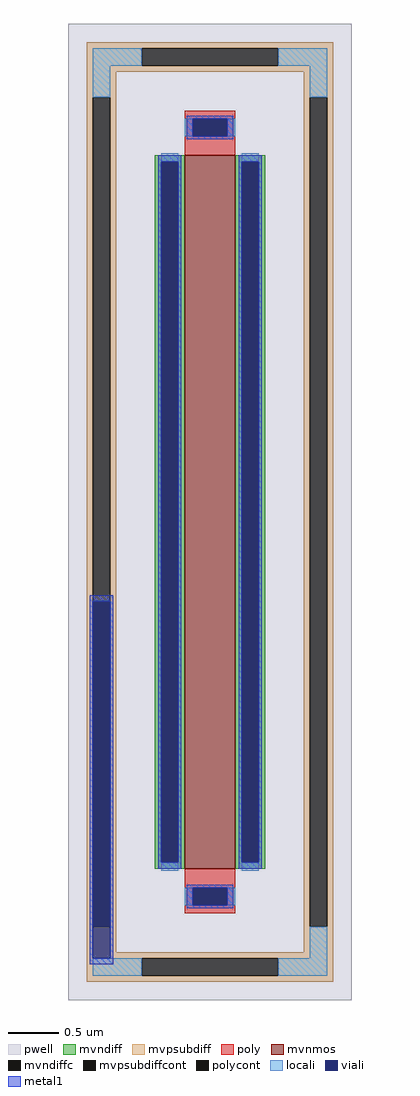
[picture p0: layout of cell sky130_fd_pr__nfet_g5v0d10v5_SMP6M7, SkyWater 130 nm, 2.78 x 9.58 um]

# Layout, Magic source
magic
tech sky130A
magscale 1 2
<< pwell >>
rect -278 -958 278 958
<< mvnmos >>
rect -50 -700 50 700
<< mvndiff >>
rect -108 688 -50 700
rect -108 -688 -96 688
rect -62 -688 -50 688
rect -108 -700 -50 -688
rect 50 688 108 700
rect 50 -688 62 688
rect 96 -688 108 688
rect 50 -700 108 -688
<< mvndiffc >>
rect -96 -688 -62 688
rect 62 -688 96 688
<< mvpsubdiff >>
rect -242 910 242 922
rect -242 876 -134 910
rect 134 876 242 910
rect -242 864 242 876
rect -242 814 -184 864
rect -242 -814 -230 814
rect -196 -814 -184 814
rect 184 814 242 864
rect -242 -864 -184 -814
rect 184 -814 196 814
rect 230 -814 242 814
rect 184 -864 242 -814
rect -242 -876 242 -864
rect -242 -910 -134 -876
rect 134 -910 242 -876
rect -242 -922 242 -910
<< mvpsubdiffcont >>
rect -134 876 134 910
rect -230 -814 -196 814
rect 196 -814 230 814
rect -134 -910 134 -876
<< poly >>
rect -50 772 50 788
rect -50 738 -34 772
rect 34 738 50 772
rect -50 700 50 738
rect -50 -738 50 -700
rect -50 -772 -34 -738
rect 34 -772 50 -738
rect -50 -788 50 -772
<< polycont >>
rect -34 738 34 772
rect -34 -772 34 -738
<< locali >>
rect -230 876 -134 910
rect 134 876 230 910
rect -230 814 -196 876
rect 196 814 230 876
rect -50 738 -34 772
rect 34 738 50 772
rect -96 688 -62 704
rect -96 -704 -62 -688
rect 62 688 96 704
rect 62 -704 96 -688
rect -50 -772 -34 -738
rect 34 -772 50 -738
rect 196 -876 230 -814
rect -230 -910 -134 -876
rect 134 -910 230 -876
<< viali >>
rect -34 738 34 772
rect -230 -814 -196 -175
rect -96 -688 -62 688
rect 62 -688 96 688
rect -34 -772 34 -738
rect -230 -876 -196 -814
<< metal1 >>
rect -46 772 46 778
rect -46 738 -34 772
rect 34 738 46 772
rect -46 732 46 738
rect -102 688 -56 700
rect -236 -175 -190 -163
rect -236 -876 -230 -175
rect -196 -876 -190 -175
rect -102 -688 -96 688
rect -62 -688 -56 688
rect -102 -700 -56 -688
rect 56 688 102 700
rect 56 -688 62 688
rect 96 -688 102 688
rect 56 -700 102 -688
rect -46 -738 46 -732
rect -46 -772 -34 -738
rect 34 -772 46 -738
rect -46 -778 46 -772
rect -236 -888 -190 -876
<< properties >>
string FIXED_BBOX -213 -893 213 893
string gencell sky130_fd_pr__nfet_g5v0d10v5
string library sky130
string parameters w 7.0 l 0.5 m 1 nf 1 diffcov 100 polycov 100 guard 1 glc 1 grc 1 gtc 1 gbc 1 tbcov 100 rlcov 100 topc 1 botc 1 poverlap 0 doverlap 1 lmin 0.50 wmin 0.42 compatible {sky130_fd_pr__nfet_01v8 sky130_fd_pr__nfet_01v8_lvt  sky130_fd_bs_flash__special_sonosfet_star  sky130_fd_pr__nfet_g5v0d10v5 sky130_fd_pr__nfet_05v0_nvt  sky130_fd_pr__nfet_03v3_nvt} full_metal 1 viasrc 100 viadrn 100 viagate 100 viagb 0 viagr 0 viagl +40 viagt 0
<< end >>
